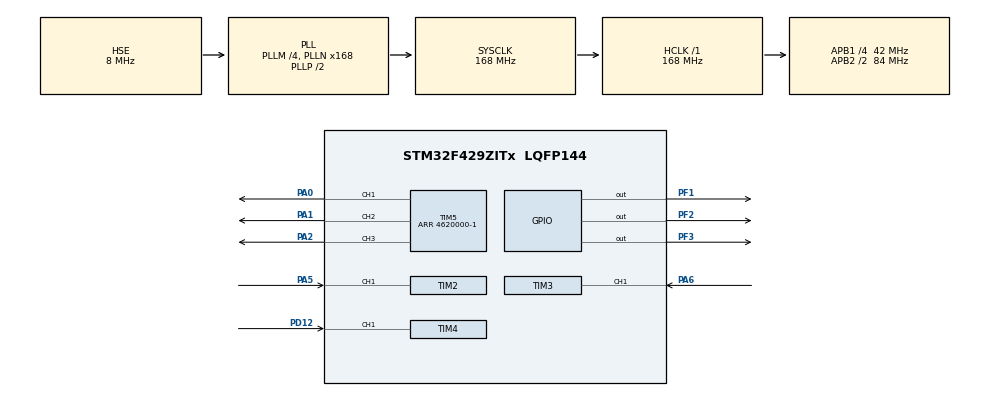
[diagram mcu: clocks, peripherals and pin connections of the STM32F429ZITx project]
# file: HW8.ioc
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Mcu.Family=STM32F4
Mcu.Name=STM32F429ZITx
Mcu.Package=LQFP144
NVIC.PriorityGroup=NVIC_PRIORITYGROUP_4
NVIC.TIM2_IRQn=true\:0\:0\:false\:false\:true\:true\:true
NVIC.TIM3_IRQn=true\:0\:0\:false\:false\:true\:true\:true
NVIC.TIM4_IRQn=true\:0\:0\:false\:false\:true\:true\:true
PA0/WKUP.GPIO_Speed=GPIO_SPEED_FREQ_VERY_HIGH
PA0/WKUP.Signal=S_TIM5_CH1
PA1.GPIO_Speed=GPIO_SPEED_FREQ_VERY_HIGH
PA1.Signal=S_TIM5_CH2
PA2.GPIO_Speed=GPIO_SPEED_FREQ_VERY_HIGH
PA2.Signal=S_TIM5_CH3
PA5.GPIO_Speed=GPIO_SPEED_FREQ_VERY_HIGH
PA5.Signal=S_TIM2_CH1_ETR
PA6.GPIO_Speed=GPIO_SPEED_FREQ_VERY_HIGH
PA6.Signal=S_TIM3_CH1
PD12.GPIO_Speed=GPIO_SPEED_FREQ_VERY_HIGH
PD12.Signal=S_TIM4_CH1
PF1.GPIO_Speed=GPIO_SPEED_FREQ_VERY_HIGH
PF1.Signal=GPIO_Output
PF2.GPIO_Speed=GPIO_SPEED_FREQ_VERY_HIGH
PF2.Signal=GPIO_Output
PF3.GPIO_Speed=GPIO_SPEED_FREQ_VERY_HIGH
PF3.Signal=GPIO_Output
PH0/OSC_IN.Mode=HSE-External-Oscillator
PH0/OSC_IN.Signal=RCC_OSC_IN
PH1/OSC_OUT.Mode=HSE-External-Oscillator
PH1/OSC_OUT.Signal=RCC_OSC_OUT
ProjectManager.HeapSize=0x200
ProjectManager.StackSize=0x400
ProjectManager.TargetToolchain=EWARM V8.32
RCC.48MHZClocksFreq_Value=84000000
RCC.AHBFreq_Value=168000000
RCC.APB1CLKDivider=RCC_HCLK_DIV4
RCC.APB1Freq_Value=42000000
RCC.APB1TimFreq_Value=84000000
RCC.APB2CLKDivider=RCC_HCLK_DIV2
RCC.APB2Freq_Value=84000000
RCC.APB2TimFreq_Value=168000000
RCC.CortexFreq_Value=168000000
RCC.HCLKFreq_Value=168000000
RCC.HSE_VALUE=8000000
RCC.HSI_VALUE=16000000
RCC.LSE_VALUE=32768
RCC.PLLM=4
RCC.PLLN=168
RCC.PLLSourceVirtual=RCC_PLLSOURCE_HSE
RCC.SYSCLKFreq_VALUE=168000000
RCC.SYSCLKSource=RCC_SYSCLKSOURCE_PLLCLK
RCC.VCOOutputFreq_Value=336000000
SH.S_TIM2_CH1_ETR.0=TIM2_CH1,Input_Capture1_from_TI1
SH.S_TIM3_CH1.0=TIM3_CH1,Input_Capture1_from_TI1
SH.S_TIM4_CH1.0=TIM4_CH1,Input_Capture1_from_TI1
SH.S_TIM5_CH1.0=TIM5_CH1,Output Compare1 CH1
SH.S_TIM5_CH2.0=TIM5_CH2,Output Compare2 CH2
SH.S_TIM5_CH3.0=TIM5_CH3,Output Compare3 CH3
TIM2.Channel-Input_Capture1_from_TI1=TIM_CHANNEL_1
TIM2.ICPolarity_CH1=TIM_INPUTCHANNELPOLARITY_BOTHEDGE
TIM2.Period=0xffffffff
TIM3.Channel-Input_Capture1_from_TI1=TIM_CHANNEL_1
TIM3.ICPolarity_CH1=TIM_INPUTCHANNELPOLARITY_BOTHEDGE
TIM3.Period=0xffff
TIM4.Channel-Input_Capture1_from_TI1=TIM_CHANNEL_1
TIM4.ICPolarity_CH1=TIM_INPUTCHANNELPOLARITY_BOTHEDGE
TIM4.Period=0xffff
TIM5.Channel-Output\ Compare1\ CH1=TIM_CHANNEL_1
TIM5.Channel-Output\ Compare2\ CH2=TIM_CHANNEL_2
TIM5.Channel-Output\ Compare3\ CH3=TIM_CHANNEL_3
TIM5.Period=4620000-1
TIM5.Pulse-Output\ Compare1\ CH1=2100-1
TIM5.Pulse-Output\ Compare2\ CH2=2100-1
TIM5.Pulse-Output\ Compare3\ CH3=2100-1
VP_TIM2_VS_ClockSourceINT.Mode=Internal
VP_TIM3_VS_ClockSourceINT.Mode=Internal
VP_TIM4_VS_ClockSourceINT.Mode=Internal
VP_TIM5_VS_ClockSourceINT.Mode=Internal
board=custom

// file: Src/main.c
/* USER CODE BEGIN Header */
/**
  ******************************************************************************
  * @file           : main.c
  * @brief          : Main program body
  ******************************************************************************
  * @attention
  *
  * <h2><center>&copy; Copyright (c) 2020 STMicroelectronics.
  * All rights reserved.</center></h2>
  *
  * This software component is licensed by ST under BSD 3-Clause license,
  * the "License"; You may not use this file except in compliance with the
  * License. You may obtain a copy of the License at:
  *                        opensource.org/licenses/BSD-3-Clause
  *
  ******************************************************************************
  */
/* USER CODE END Header */

#include "main.h"

TIM_HandleTypeDef htim2;
TIM_HandleTypeDef htim3;
TIM_HandleTypeDef htim4;
TIM_HandleTypeDef htim5;

/* USER CODE BEGIN PV */
extern uint64_t input_cm_PL,input_cm_PR,input_cm_PS;
/* USER CODE END PV */

void SystemClock_Config(void);
static void MX_GPIO_Init(void);
static void MX_TIM2_Init(void);
static void MX_TIM3_Init(void);
static void MX_TIM4_Init(void);
static void MX_TIM5_Init(void);

int main(void)
{

  /* MCU Configuration--------------------------------------------------------*/

  /* Reset of all peripherals, Initializes the Flash interface and the Systick. */
  HAL_Init();

  /* Configure the system clock */
  SystemClock_Config();

  /* Initialize all configured peripherals */
  MX_GPIO_Init();
  MX_TIM2_Init();
  MX_TIM3_Init();
  MX_TIM4_Init();
  MX_TIM5_Init();
  /* USER CODE BEGIN 2 */
  HAL_TIM_IC_Start(&htim2, TIM_CHANNEL_1);
  HAL_TIM_IC_Start(&htim3, TIM_CHANNEL_1);
  HAL_TIM_IC_Start(&htim4, TIM_CHANNEL_1);
  HAL_TIM_PWM_Start(&htim5, TIM_CHANNEL_1);
  HAL_TIM_PWM_Start(&htim5, TIM_CHANNEL_2);
  HAL_TIM_PWM_Start(&htim5, TIM_CHANNEL_3);

  // intialization
  HAL_GPIO_WritePin(GPIOF,GPIO_PIN_1,GPIO_PIN_RESET); // DR is low
  HAL_GPIO_WritePin(GPIOF,GPIO_PIN_2,GPIO_PIN_RESET); // DL is low
  HAL_GPIO_WritePin(GPIOF,GPIO_PIN_3,GPIO_PIN_SET);    // DS is high
  /* USER CODE END 2 */

  /* Infinite loop */
  /* USER CODE BEGIN WHILE */
  while (1)
  {
    if (input_cm_PL <= 50.0 && !input_cm_PS<= 50.0)                     // if about to hit the left wall and not close to the front wall then
    {
    HAL_GPIO_WritePin(GPIOF,GPIO_PIN_1,GPIO_PIN_SET);                   // DR is high
    HAL_GPIO_WritePin(GPIOF,GPIO_PIN_2,GPIO_PIN_RESET);                  // DL is low
    HAL_GPIO_WritePin(GPIOF,GPIO_PIN_3,GPIO_PIN_RESET);                 // DS is low

    HAL_Delay(2000);                                                    // 2 second delay to have DR high for 2 secodns and after make DS high

    HAL_GPIO_WritePin(GPIOF,GPIO_PIN_1,GPIO_PIN_RESET);                 // DR is low
    HAL_GPIO_WritePin(GPIOF,GPIO_PIN_2,GPIO_PIN_RESET);                 // DL is low
    HAL_GPIO_WritePin(GPIOF,GPIO_PIN_3,GPIO_PIN_SET);                    // DS is high
    }

    else if (input_cm_PR <= 50.0 && !input_cm_PS<= 50.0)                // if about to hit the right wall and not close to the front wall then
    {
    HAL_GPIO_WritePin(GPIOF,GPIO_PIN_1,GPIO_PIN_RESET);                 // DR is low
    HAL_GPIO_WritePin(GPIOF,GPIO_PIN_2,GPIO_PIN_SET);                   // DL is high
    HAL_GPIO_WritePin(GPIOF,GPIO_PIN_3,GPIO_PIN_RESET);                  // DS is low

    HAL_Delay(2000);                                                    // 2 second delay to have DL high for 2 secodns and after make DS high

    HAL_GPIO_WritePin(GPIOF,GPIO_PIN_1,GPIO_PIN_RESET);                 // DR is low
    HAL_GPIO_WritePin(GPIOF,GPIO_PIN_2,GPIO_PIN_RESET);                 // DL is low
    HAL_GPIO_WritePin(GPIOF,GPIO_PIN_3,GPIO_PIN_SET);                   // DS is high
    }

    else if (input_cm_PS<= 50.0)                                       // if about to reach the end desitination
    {
    HAL_GPIO_WritePin(GPIOF,GPIO_PIN_1,GPIO_PIN_RESET);                 // DR is low
    HAL_GPIO_WritePin(GPIOF,GPIO_PIN_2,GPIO_PIN_RESET);                 // DL is low
    HAL_GPIO_WritePin(GPIOF,GPIO_PIN_3,GPIO_PIN_RESET);                 // DS is high
    break;                                                             // once all drive controls are rested, break out
    }

    /* USER CODE END WHILE */

  }
}

void SystemClock_Config(void)
{
  RCC_OscInitTypeDef RCC_OscInitStruct = {0};
  RCC_ClkInitTypeDef RCC_ClkInitStruct = {0};

  /** Configure the main internal regulator output voltage
  */
  __HAL_RCC_PWR_CLK_ENABLE();
  __HAL_PWR_VOLTAGESCALING_CONFIG(PWR_REGULATOR_VOLTAGE_SCALE1);
  /** Initializes the CPU, AHB and APB busses clocks
  */
  RCC_OscInitStruct.OscillatorType = RCC_OSCILLATORTYPE_HSE;
  RCC_OscInitStruct.HSEState = RCC_HSE_ON;
  RCC_OscInitStruct.PLL.PLLState = RCC_PLL_ON;
  RCC_OscInitStruct.PLL.PLLSource = RCC_PLLSOURCE_HSE;
  RCC_OscInitStruct.PLL.PLLM = 4;
  RCC_OscInitStruct.PLL.PLLN = 168;
  RCC_OscInitStruct.PLL.PLLP = RCC_PLLP_DIV2;
  RCC_OscInitStruct.PLL.PLLQ = 4;
  if (HAL_RCC_OscConfig(&RCC_OscInitStruct) != HAL_OK)
  {
    Error_Handler();
  }
  /** Initializes the CPU, AHB and APB busses clocks
  */
  RCC_ClkInitStruct.ClockType = RCC_CLOCKTYPE_HCLK|RCC_CLOCKTYPE_SYSCLK
                              |RCC_CLOCKTYPE_PCLK1|RCC_CLOCKTYPE_PCLK2;
  RCC_ClkInitStruct.SYSCLKSource = RCC_SYSCLKSOURCE_PLLCLK;
  RCC_ClkInitStruct.AHBCLKDivider = RCC_SYSCLK_DIV1;
  RCC_ClkInitStruct.APB1CLKDivider = RCC_HCLK_DIV4;
  RCC_ClkInitStruct.APB2CLKDivider = RCC_HCLK_DIV2;

  if (HAL_RCC_ClockConfig(&RCC_ClkInitStruct, FLASH_LATENCY_5) != HAL_OK)
  {
    Error_Handler();
  }
}

static void MX_TIM2_Init(void)
{

  TIM_ClockConfigTypeDef sClockSourceConfig = {0};
  TIM_MasterConfigTypeDef sMasterConfig = {0};
  TIM_IC_InitTypeDef sConfigIC = {0};

  htim2.Instance = TIM2;
  htim2.Init.Prescaler = 0;
  htim2.Init.CounterMode = TIM_COUNTERMODE_UP;
  htim2.Init.Period = 0xffffffff;
  htim2.Init.ClockDivision = TIM_CLOCKDIVISION_DIV1;
  htim2.Init.AutoReloadPreload = TIM_AUTORELOAD_PRELOAD_DISABLE;
  if (HAL_TIM_Base_Init(&htim2) != HAL_OK)
  {
    Error_Handler();
  }
  sClockSourceConfig.ClockSource = TIM_CLOCKSOURCE_INTERNAL;
  if (HAL_TIM_ConfigClockSource(&htim2, &sClockSourceConfig) != HAL_OK)
  {
    Error_Handler();
  }
  if (HAL_TIM_IC_Init(&htim2) != HAL_OK)
  {
    Error_Handler();
  }
  sMasterConfig.MasterOutputTrigger = TIM_TRGO_RESET;
  sMasterConfig.MasterSlaveMode = TIM_MASTERSLAVEMODE_DISABLE;
  if (HAL_TIMEx_MasterConfigSynchronization(&htim2, &sMasterConfig) != HAL_OK)
  {
    Error_Handler();
  }
  sConfigIC.ICPolarity = TIM_INPUTCHANNELPOLARITY_BOTHEDGE;
  sConfigIC.ICSelection = TIM_ICSELECTION_DIRECTTI;
  sConfigIC.ICPrescaler = TIM_ICPSC_DIV1;
  sConfigIC.ICFilter = 0;
  if (HAL_TIM_IC_ConfigChannel(&htim2, &sConfigIC, TIM_CHANNEL_1) != HAL_OK)
  {
    Error_Handler();
  }

}

static void MX_TIM3_Init(void)
{

  TIM_ClockConfigTypeDef sClockSourceConfig = {0};
  TIM_MasterConfigTypeDef sMasterConfig = {0};
  TIM_IC_InitTypeDef sConfigIC = {0};

  htim3.Instance = TIM3;
  htim3.Init.Prescaler = 0;
  htim3.Init.CounterMode = TIM_COUNTERMODE_UP;
  htim3.Init.Period = 0xffff;
  htim3.Init.ClockDivision = TIM_CLOCKDIVISION_DIV1;
  htim3.Init.AutoReloadPreload = TIM_AUTORELOAD_PRELOAD_DISABLE;
  if (HAL_TIM_Base_Init(&htim3) != HAL_OK)
  {
    Error_Handler();
  }
  sClockSourceConfig.ClockSource = TIM_CLOCKSOURCE_INTERNAL;
  if (HAL_TIM_ConfigClockSource(&htim3, &sClockSourceConfig) != HAL_OK)
  {
    Error_Handler();
  }
  if (HAL_TIM_IC_Init(&htim3) != HAL_OK)
  {
    Error_Handler();
  }
  sMasterConfig.MasterOutputTrigger = TIM_TRGO_RESET;
  sMasterConfig.MasterSlaveMode = TIM_MASTERSLAVEMODE_DISABLE;
  if (HAL_TIMEx_MasterConfigSynchronization(&htim3, &sMasterConfig) != HAL_OK)
  {
    Error_Handler();
  }
  sConfigIC.ICPolarity = TIM_INPUTCHANNELPOLARITY_BOTHEDGE;
  sConfigIC.ICSelection = TIM_ICSELECTION_DIRECTTI;
  sConfigIC.ICPrescaler = TIM_ICPSC_DIV1;
  sConfigIC.ICFilter = 0;
  if (HAL_TIM_IC_ConfigChannel(&htim3, &sConfigIC, TIM_CHANNEL_1) != HAL_OK)
  {
    Error_Handler();
  }

}

static void MX_TIM4_Init(void)
{

  TIM_ClockConfigTypeDef sClockSourceConfig = {0};
  TIM_MasterConfigTypeDef sMasterConfig = {0};
  TIM_IC_InitTypeDef sConfigIC = {0};

  htim4.Instance = TIM4;
  htim4.Init.Prescaler = 0;
  htim4.Init.CounterMode = TIM_COUNTERMODE_UP;
  htim4.Init.Period = 0xffff;
  htim4.Init.ClockDivision = TIM_CLOCKDIVISION_DIV1;
  htim4.Init.AutoReloadPreload = TIM_AUTORELOAD_PRELOAD_DISABLE;
  if (HAL_TIM_Base_Init(&htim4) != HAL_OK)
  {
    Error_Handler();
  }
  sClockSourceConfig.ClockSource = TIM_CLOCKSOURCE_INTERNAL;
  if (HAL_TIM_ConfigClockSource(&htim4, &sClockSourceConfig) != HAL_OK)
  {
    Error_Handler();
  }
  if (HAL_TIM_IC_Init(&htim4) != HAL_OK)
  {
    Error_Handler();
  }
  sMasterConfig.MasterOutputTrigger = TIM_TRGO_RESET;
  sMasterConfig.MasterSlaveMode = TIM_MASTERSLAVEMODE_DISABLE;
  if (HAL_TIMEx_MasterConfigSynchronization(&htim4, &sMasterConfig) != HAL_OK)
  {
    Error_Handler();
  }
  sConfigIC.ICPolarity = TIM_INPUTCHANNELPOLARITY_BOTHEDGE;
  sConfigIC.ICSelection = TIM_ICSELECTION_DIRECTTI;
  sConfigIC.ICPrescaler = TIM_ICPSC_DIV1;
  sConfigIC.ICFilter = 0;
  if (HAL_TIM_IC_ConfigChannel(&htim4, &sConfigIC, TIM_CHANNEL_1) != HAL_OK)
  {
    Error_Handler();
  }

}

static void MX_TIM5_Init(void)
{

  TIM_ClockConfigTypeDef sClockSourceConfig = {0};
  TIM_MasterConfigTypeDef sMasterConfig = {0};
  TIM_OC_InitTypeDef sConfigOC = {0};

  htim5.Instance = TIM5;
  htim5.Init.Prescaler = 0;
  htim5.Init.CounterMode = TIM_COUNTERMODE_UP;
  htim5.Init.Period = 4620000-1;
  htim5.Init.ClockDivision = TIM_CLOCKDIVISION_DIV1;
  htim5.Init.AutoReloadPreload = TIM_AUTORELOAD_PRELOAD_DISABLE;
  if (HAL_TIM_Base_Init(&htim5) != HAL_OK)
  {
    Error_Handler();
  }
  sClockSourceConfig.ClockSource = TIM_CLOCKSOURCE_INTERNAL;
  if (HAL_TIM_ConfigClockSource(&htim5, &sClockSourceConfig) != HAL_OK)
  {
    Error_Handler();
  }
  if (HAL_TIM_OC_Init(&htim5) != HAL_OK)
  {
    Error_Handler();
  }
  sMasterConfig.MasterOutputTrigger = TIM_TRGO_RESET;
  sMasterConfig.MasterSlaveMode = TIM_MASTERSLAVEMODE_DISABLE;
  if (HAL_TIMEx_MasterConfigSynchronization(&htim5, &sMasterConfig) != HAL_OK)
  {
    Error_Handler();
  }
  sConfigOC.OCMode = TIM_OCMODE_TIMING;
  sConfigOC.Pulse = 2100-1;
  sConfigOC.OCPolarity = TIM_OCPOLARITY_HIGH;
  sConfigOC.OCFastMode = TIM_OCFAST_DISABLE;
  if (HAL_TIM_OC_ConfigChannel(&htim5, &sConfigOC, TIM_CHANNEL_1) != HAL_OK)
  {
    Error_Handler();
  }
  if (HAL_TIM_OC_ConfigChannel(&htim5, &sConfigOC, TIM_CHANNEL_2) != HAL_OK)
  {
    Error_Handler();
  }
  if (HAL_TIM_OC_ConfigChannel(&htim5, &sConfigOC, TIM_CHANNEL_3) != HAL_OK)
  {
    Error_Handler();
  }
  HAL_TIM_MspPostInit(&htim5);

}

static void MX_GPIO_Init(void)
{
  GPIO_InitTypeDef GPIO_InitStruct = {0};

  /* GPIO Ports Clock Enable */
  __HAL_RCC_GPIOF_CLK_ENABLE();
  __HAL_RCC_GPIOH_CLK_ENABLE();
  __HAL_RCC_GPIOA_CLK_ENABLE();
  __HAL_RCC_GPIOD_CLK_ENABLE();

  /*Configure GPIO pin Output Level */
  HAL_GPIO_WritePin(GPIOF, GPIO_PIN_1|GPIO_PIN_2|GPIO_PIN_3, GPIO_PIN_RESET);

  /*Configure GPIO pins : PF1 PF2 PF3 */
  GPIO_InitStruct.Pin = GPIO_PIN_1|GPIO_PIN_2|GPIO_PIN_3;
  GPIO_InitStruct.Mode = GPIO_MODE_OUTPUT_PP;
  GPIO_InitStruct.Pull = GPIO_NOPULL;
  GPIO_InitStruct.Speed = GPIO_SPEED_FREQ_VERY_HIGH;
  HAL_GPIO_Init(GPIOF, &GPIO_InitStruct);

}

void Error_Handler(void)
{
}

/************************ (C) COPYRIGHT STMicroelectronics *****END OF FILE****/
